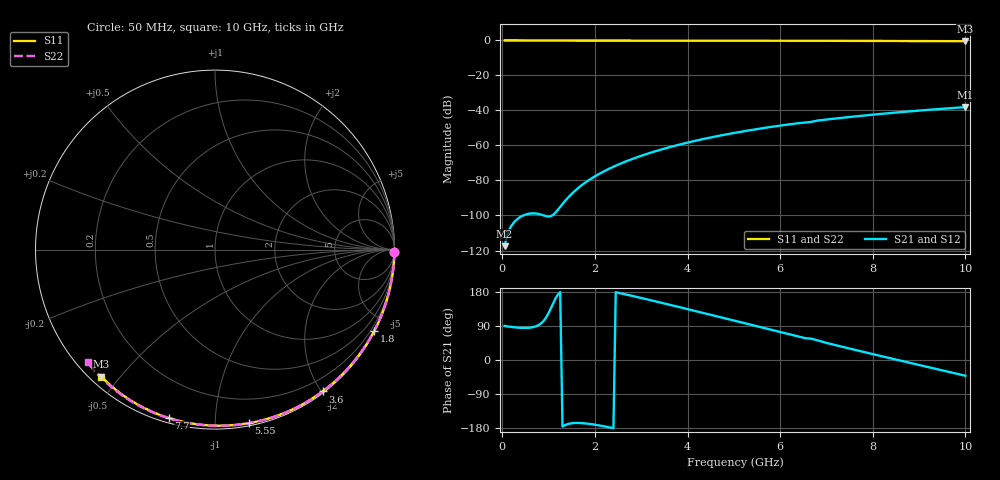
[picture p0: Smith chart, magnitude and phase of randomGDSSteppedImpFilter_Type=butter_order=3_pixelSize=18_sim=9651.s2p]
! freq	dB(S11)	phase(S11)	dB(S12)	phase(S12)
!  dB(S21)	phase(S21)	dB(S22)	phase(S22)
!S-par simulation data
#  GHz  S  DB  R 50
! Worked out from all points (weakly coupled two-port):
!   200 points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, 50 MHz to 10 GHz, reference 50 ohm
!   highest |S21| = -38.10 dB at 10 GHz (marker M1); lowest = -117.5 dB at 50 MHz (marker M2)
!   lowest |S11| = -0.4 dB at 10 GHz (marker M3), VSWR 39.08, Z = 1.54 - j22.3 ohm
!   |S11| at or under -10 dB: nowhere
!   |S22| runs from -0.5 to 0.0 dB; largest |S21 - S12| = 0
!   S11 on the Smith chart (normalised r, x): 50 MHz: open; 1.8 GHz: 0.04, -4.16; 3.6 GHz: 0.02, -2.01; 5.55 GHz: 0.02, -1.22; 7.7 GHz: 0.02, -0.76; 10 GHz: 0.03, -0.45
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0.05  -0.00 -0.8  -117.53 89.9  -117.53 89.9  -0.00 -0.8
0.45  -0.01 -6.8  -100.01 84.7  -100.01 84.7  -0.01 -7.2
0.9  -0.02 -13.6  -100.02 104.2  -100.02 104.2  -0.02 -14.3
1.75  -0.03 -26.3  -82.01 -166.9  -82.01 -166.9  -0.04 -27.7
1.8  -0.03 -27.0  -81.05 -167.5  -81.05 -167.5  -0.04 -28.4
1.85  -0.04 -27.8  -80.15 -168.2  -80.15 -168.2  -0.04 -29.2
2.2  -0.04 -32.9  -74.72 -175.1  -74.72 -175.1  -0.04 -34.6
2.55  -0.05 -38.0  -70.39 176.1  -70.39 176.1  -0.05 -39.9
2.95  -0.06 -43.7  -66.34 165.1  -66.34 165.1  -0.06 -45.9
3.4  -0.07 -50.0  -62.55 152.1  -62.55 152.1  -0.07 -52.6
3.6  -0.07 -52.8  -61.05 146.2  -61.05 146.2  -0.07 -55.5
3.9  -0.08 -57.0  -59.00 137.3  -59.00 137.3  -0.08 -59.9
4.3  -0.09 -62.4  -56.55 125.3  -56.55 125.3  -0.09 -65.6
5.05  -0.11 -72.4  -52.64 102.7  -52.64 102.7  -0.12 -76.0
5.55  -0.13 -78.9  -50.42 87.6  -50.42 87.6  -0.14 -82.8
6.15  -0.15 -86.5  -48.10 69.5  -48.10 69.5  -0.16 -90.7
6.7  -0.18 -93.3  -46.36 55.3  -46.36 55.3  -0.19 -97.9
6.9  -0.19 -95.7  -45.47 48.3  -45.47 48.3  -0.20 -100.4
7.7  -0.24 -105.3  -43.18 24.2  -43.18 24.2  -0.25 -110.5
8.35  -0.29 -113.0  -41.54 5.4  -41.54 5.4  -0.30 -118.5
9.2  -0.36 -122.7  -39.64 -18.9  -39.64 -18.9  -0.38 -128.8
10  -0.44 -131.8  -38.10 -41.5  -38.10 -41.5  -0.47 -138.5
